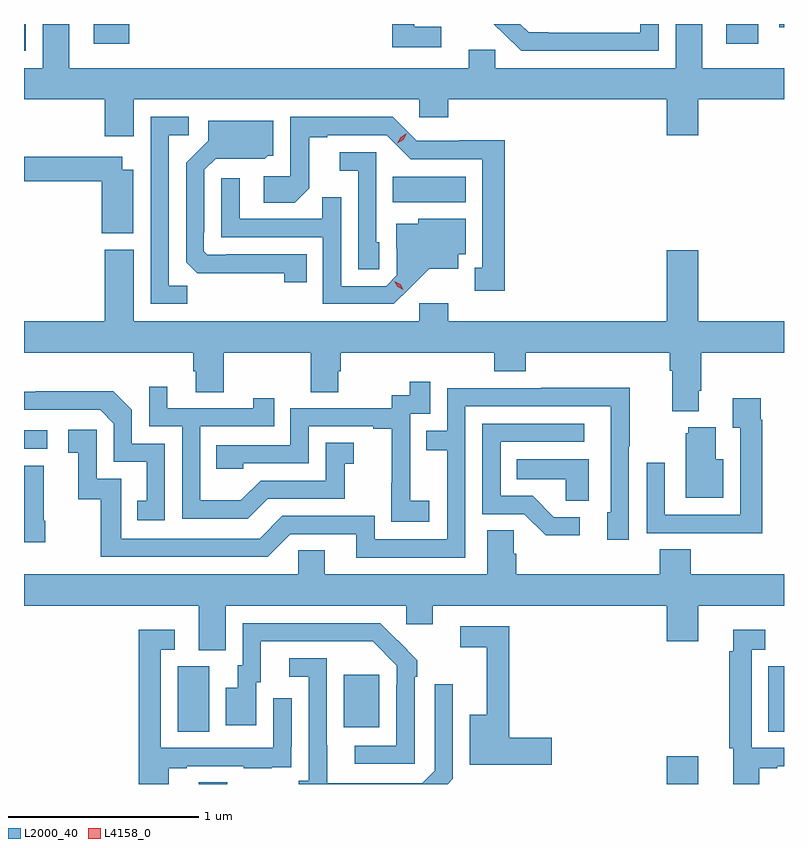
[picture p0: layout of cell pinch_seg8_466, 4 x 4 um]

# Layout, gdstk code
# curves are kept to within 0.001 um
import gdstk
lib = gdstk.Library(unit=1e-6, precision=1e-09)
def R(c, l, rs):  # rectangles x0, y0, x1, y1
    for r in rs: c.add(gdstk.rectangle(r[:2], r[2:], *l))
def P(c, l, *ps):  # polygons
    for p in ps: c.add(gdstk.Polygon(p, *l))
L2000_40 = (2000, 40)
L4158_0 = (4158, 0)

pinch_seg8_466 = lib.new_cell('pinch_seg8_466')
R(pinch_seg8_466, L2000_40, [(114.593,1124.885,114.741,1124.894), (117.056,1124.885,117.22,1125.031), (114.482,1125.16,114.646,1125.504), (117.59,1125.16,117.672,1125.504), (115.355,1125.185,115.543,1125.46), (113.672,1126.65,113.794,1126.746), (115.612,1127.948,115.996,1128.082), (113.672,1128.744,113.682,1128.885), (114.039,1128.78,114.227,1128.885), (117.369,1128.78,117.537,1128.885), (117.647,1128.869,117.672,1128.885)])
P(pinch_seg8_466, L2000_40, [(117.012,1128.885),(116.915,1128.885),(116.915,1128.84),(116.431,1128.84),(116.431,1128.841),(116.328,1128.841),(116.284,1128.885),(116.145,1128.885),(116.196,1128.834),(116.197,1128.835),(116.288,1128.744),(117.012,1128.744)],
  [(114.25,1128.488),(115.752,1128.488),(115.752,1128.395),(115.904,1128.395),(115.904,1128.488),(117.056,1128.488),(117.056,1128.3),(117.22,1128.3),(117.22,1128.488),(117.672,1128.488),(117.672,1128.652),(117.241,1128.652),(117.241,1128.885),(117.101,1128.885),(117.101,1128.652),(116.151,1128.652),(116.151,1128.75),(116.012,1128.75),(116.012,1128.652),(113.911,1128.652),(113.911,1128.885),(113.771,1128.885),(113.771,1128.652),(113.672,1128.652),(113.672,1128.488),(114.098,1128.488),(114.098,1128.294),(114.25,1128.294)],
  [(115.867,1128.871),(115.727,1128.871),(115.727,1128.885),(115.609,1128.885),(115.609,1128.762),(115.867,1128.762)],
  [(116.203,1128.272),(115.962,1128.272),(115.962,1128.27),(115.74,1128.27),(115.614,1128.396),(115.074,1128.396),(115.074,1128.084),(114.933,1128.084),(114.933,1127.944),(115.097,1127.944),(115.173,1128.02),(115.173,1128.288),(115.267,1128.288),(115.267,1128.3),(115.581,1128.3),(115.707,1128.174),(116.084,1128.174),(116.084,1127.601),(116.045,1127.601),(116.045,1127.481),(116.203,1127.481)],
  [(114.531,1127.507),(114.435,1127.507),(114.435,1128.3),(114.538,1128.3),(114.538,1128.396),(114.339,1128.396),(114.339,1127.412),(114.531,1127.412)],
  [(115.16,1127.673),(114.736,1127.673),(114.736,1127.67),(114.636,1127.67),(114.618,1127.688),(114.618,1127.788),(114.621,1127.788),(114.621,1128.117),(114.681,1128.177),(114.938,1128.176),(114.954,1128.192),(114.985,1128.192),(114.985,1128.376),(114.641,1128.376),(114.641,1128.27),(114.525,1128.154),(114.525,1127.632),(114.584,1127.573),(115.042,1127.572),(115.042,1127.526),(115.16,1127.526)],
  [(115.542,1127.736),(115.527,1127.736),(115.527,1128.21),(115.335,1128.21),(115.335,1128.113),(115.431,1128.113),(115.431,1127.593),(115.542,1127.593)],
  [(114.247,1128.118),(114.19,1128.118),(114.19,1128.187),(113.672,1128.187),(113.672,1128.058),(114.08,1128.058),(114.08,1127.783),(114.247,1127.783)],
  [(115.702,1127.495),(115.805,1127.597),(115.957,1127.597),(115.957,1127.673),(115.996,1127.673),(115.996,1127.86),(115.746,1127.86),(115.746,1127.833),(115.631,1127.833),(115.631,1127.704),(115.635,1127.704),(115.635,1127.562),(115.578,1127.505),(115.341,1127.505),(115.341,1127.972),(115.243,1127.972),(115.243,1127.859),(114.807,1127.859),(114.807,1128.073),(114.711,1128.073),(114.711,1127.763),(115.245,1127.763),(115.245,1127.412),(115.618,1127.412)],
  [(117.223,1126.954),(117.236,1126.954),(117.236,1127.156),(117.672,1127.156),(117.672,1127.32),(117.22,1127.32),(117.22,1127.695),(117.056,1127.695),(117.056,1127.32),(115.904,1127.32),(115.904,1127.416),(115.752,1127.416),(115.752,1127.32),(114.25,1127.32),(114.25,1127.698),(114.098,1127.698),(114.098,1127.32),(113.672,1127.32),(113.672,1127.156),(114.563,1127.156),(114.563,1127.058),(114.575,1127.058),(114.575,1126.948),(114.723,1126.948),(114.723,1127.156),(115.18,1127.156),(115.18,1126.948),(115.327,1126.948),(115.327,1127.058),(115.34,1127.058),(115.34,1127.156),(116.147,1127.156),(116.147,1127.057),(116.312,1127.057),(116.312,1127.156),(117.071,1127.156),(117.071,1127.06),(117.083,1127.06),(117.083,1126.847),(117.223,1126.847)],
  [(115.804,1126.375),(115.706,1126.375),(115.706,1126.604),(115.704,1126.604),(115.704,1126.833),(115.809,1126.833),(115.809,1127.002),(115.701,1127.002),(115.701,1126.932),(115.608,1126.932),(115.608,1126.863),(115.074,1126.863),(115.074,1126.668),(114.685,1126.668),(114.685,1126.545),(114.825,1126.545),(114.825,1126.572),(115.17,1126.572),(115.17,1126.767),(115.511,1126.767),(115.511,1126.755),(115.607,1126.755),(115.607,1126.471),(115.606,1126.471),(115.606,1126.265),(115.804,1126.265)],
  [(114.955,1126.386),(115.359,1126.386),(115.359,1126.571),(115.408,1126.571),(115.408,1126.681),(115.26,1126.681),(115.26,1126.482),(114.918,1126.482),(114.814,1126.378),(114.6,1126.378),(114.6,1126.767),(114.989,1126.767),(114.989,1126.915),(114.878,1126.915),(114.878,1126.863),(114.427,1126.863),(114.427,1126.975),(114.33,1126.975),(114.33,1126.767),(114.504,1126.767),(114.504,1126.281),(114.85,1126.281)],
  [(115.995,1126.872),(116.76,1126.872),(116.76,1126.314),(116.741,1126.314),(116.741,1126.17),(116.856,1126.17),(116.856,1126.663),(116.859,1126.663),(116.859,1126.97),(116.395,1126.97),(116.395,1126.968),(115.899,1126.968),(115.899,1126.743),(115.789,1126.743),(115.789,1126.642),(115.899,1126.642),(115.899,1126.173),(115.518,1126.173),(115.518,1126.296),(115.032,1126.296),(114.912,1126.176),(114.183,1126.176),(114.183,1126.491),(114.054,1126.491),(114.054,1126.75),(113.904,1126.75),(113.904,1126.629),(113.957,1126.629),(113.957,1126.383),(114.075,1126.383),(114.075,1126.08),(114.954,1126.08),(115.074,1126.2),(115.421,1126.2),(115.421,1126.077),(115.995,1126.077)],
  [(114.414,1126.677),(114.24,1126.677),(114.24,1126.854),(114.142,1126.952),(113.734,1126.952),(113.734,1126.95),(113.672,1126.95),(113.672,1126.854),(114.072,1126.854),(114.144,1126.782),(114.144,1126.581),(114.317,1126.581),(114.317,1126.377),(114.268,1126.377),(114.268,1126.272),(114.414,1126.272)],
  [(117.557,1126.802),(117.55,1126.802),(117.55,1126.915),(117.401,1126.915),(117.401,1126.759),(117.441,1126.759),(117.441,1126.302),(117.045,1126.302),(117.045,1126.576),(116.949,1126.576),(116.949,1126.206),(117.265,1126.206),(117.265,1126.205),(117.557,1126.205)],
  [(116.596,1126.29),(116.461,1126.29),(116.35,1126.401),(116.181,1126.401),(116.181,1126.686),(116.62,1126.686),(116.62,1126.782),(116.085,1126.782),(116.085,1126.305),(116.304,1126.305),(116.417,1126.193),(116.596,1126.193)],
  [(117.352,1126.594),(117.313,1126.594),(117.313,1126.762),(117.167,1126.762),(117.167,1126.731),(117.155,1126.731),(117.155,1126.391),(117.352,1126.391)],
  [(116.644,1126.594),(116.266,1126.594),(116.266,1126.49),(116.523,1126.49),(116.523,1126.375),(116.644,1126.375)],
  [(113.784,1126.27),(113.776,1126.27),(113.776,1126.561),(113.672,1126.561),(113.672,1126.158),(113.784,1126.158)],
  [(114.733,1125.824),(115.683,1125.824),(115.683,1125.726),(115.822,1125.726),(115.822,1125.824),(117.056,1125.824),(117.056,1125.636),(117.22,1125.636),(117.22,1125.824),(117.672,1125.824),(117.672,1125.988),(117.182,1125.988),(117.182,1126.121),(117.017,1126.121),(117.017,1125.988),(116.264,1125.988),(116.264,1126.097),(116.25,1126.097),(116.25,1126.22),(116.111,1126.22),(116.111,1125.988),(115.255,1125.988),(115.255,1126.115),(115.116,1126.115),(115.116,1125.988),(113.672,1125.988),(113.672,1125.824),(114.593,1125.824),(114.593,1125.589),(114.733,1125.589)],
  [(115.728,1125.449),(115.743,1125.449),(115.743,1125.537),(115.546,1125.732),(114.822,1125.732),(114.822,1125.51),(114.797,1125.51),(114.797,1125.391),(114.734,1125.391),(114.734,1125.195),(114.895,1125.195),(114.895,1125.42),(114.919,1125.42),(114.919,1125.636),(115.507,1125.636),(115.635,1125.507),(115.635,1125.407),(115.632,1125.407),(115.632,1125.087),(115.413,1125.087),(115.413,1124.991),(115.728,1124.991)],
  [(116.449,1125.128),(116.225,1125.128),(116.225,1125.714),(115.968,1125.714),(115.968,1125.606),(116.108,1125.606),(116.108,1125.25),(116.018,1125.25),(116.018,1124.986),(116.449,1124.986)],
  [(114.433,1124.967),(114.529,1124.967),(114.529,1124.979),(114.829,1124.979),(114.829,1124.967),(114.977,1124.967),(114.977,1124.973),(115.079,1124.973),(115.079,1125.082),(115.08,1125.082),(115.08,1125.337),(114.984,1125.337),(114.984,1125.075),(114.393,1125.075),(114.393,1125.591),(114.466,1125.591),(114.466,1125.697),(114.277,1125.697),(114.277,1124.885),(114.433,1124.885)],
  [(117.541,1124.967),(117.637,1124.967),(117.637,1124.979),(117.672,1124.979),(117.672,1125.075),(117.501,1125.075),(117.501,1125.591),(117.574,1125.591),(117.574,1125.697),(117.404,1125.697),(117.404,1125.584),(117.385,1125.584),(117.385,1125.072),(117.404,1125.072),(117.404,1124.885),(117.541,1124.885)],
  [(115.929,1124.913),(115.929,1125.409),(115.833,1125.409),(115.833,1124.955),(115.767,1124.889),(115.267,1124.889),(115.266,1125.546),(115.068,1125.546),(115.068,1125.45),(115.17,1125.45),(115.17,1124.902),(115.119,1124.902),(115.119,1124.885),(115.901,1124.885)])
P(pinch_seg8_466, L4158_0, [(115.637,1128.257),(115.637,1128.258),(115.654,1128.29),(115.686,1128.309),(115.686,1128.309),(115.686,1128.309),(115.669,1128.276),(115.637,1128.257)],
  [(115.668,1127.486),(115.638,1127.502),(115.62,1127.532),(115.62,1127.532),(115.621,1127.532),(115.651,1127.516),(115.669,1127.486),(115.669,1127.486)])

lib.write_gds('pinch_seg8_466.gds')
